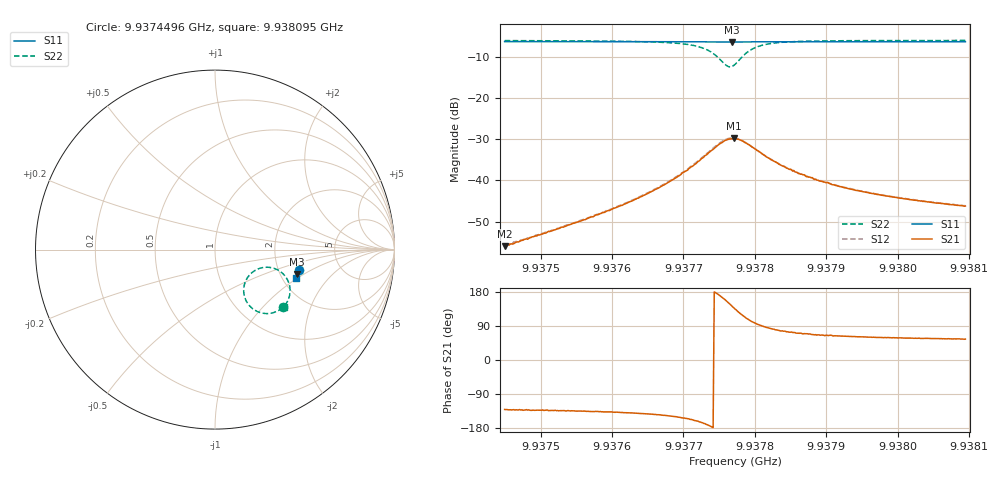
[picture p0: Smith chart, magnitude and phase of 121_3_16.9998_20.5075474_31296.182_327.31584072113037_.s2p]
#  HZ  S  RI  R  50.00
! Rohde & Schwarz Vector Network Analyzer
! Rohde-Schwarz,ZNB20-2Port,1311601062101988,3.16
! Created: UTC 3/20/2024, 10:57:27 PM
! freq[Hz]  re:S11  im:S11  re:S21  im:S21  re:S12  im:S12  re:S22  im:S22
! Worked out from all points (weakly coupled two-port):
!   401 points, 9.9374496 GHz to 9.938095 GHz, reference 50 ohm
!   highest |S21| = -29.81 dB at 9.9377707 GHz (marker M1); lowest = -56.0 dB at 9.9374496 GHz (marker M2)
!   lowest |S11| = -6.4 dB at 9.9377675 GHz (marker M3), VSWR 2.83, Z = 124 - j43.3 ohm
!   |S11| at or under -10 dB: nowhere
!   |S22| runs from -12.4 to -6.0 dB; largest |S21 - S12| = 0.0016
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9.93744962e9  0.4686 -0.1161  -0.00104 -0.00121  -0.00107 -0.00121  0.3779 -0.3218
9.93755773e9  0.4661 -0.1234  -0.0023 -0.00231  -0.0024 -0.00231  0.3615 -0.3344
9.93762065e9  0.4646 -0.1276  -0.00401 -0.00346  -0.00414 -0.00345  0.343 -0.3443
9.93766583e9  0.4632 -0.131  -0.00663 -0.00474  -0.00686 -0.00468  0.318 -0.3532
9.93770455e9  0.4619 -0.1338  -0.0119 -0.00572  -0.0122 -0.00559  0.2723 -0.3553
9.93773037e9  0.4605 -0.1355  -0.0196 -0.00416  -0.0201 -0.00361  0.2128 -0.3315
9.93774166e9  0.4596 -0.1357  -0.0238 -0.000639  -0.0247 8.85e-05  0.1803 -0.297
9.93775296e9  0.4584 -0.1359  -0.0277 0.00624  -0.0284 0.00744  0.1601 -0.235
9.93776103e9  0.4581 -0.1355  -0.028 0.0133  -0.0281 0.0149  0.1698 -0.1776
9.93776748e9  0.458 -0.1352  -0.0258 0.0191  -0.0255 0.0206  0.1981 -0.1354
9.93777071e9  0.4583 -0.1351  -0.0239 0.0218  -0.0232 0.023  0.2183 -0.1193
9.93777232e9  0.4583 -0.135  -0.0225 0.0229  -0.0219 0.0241  0.2292 -0.1128
9.93778039e9  0.4588 -0.1351  -0.0161 0.0263  -0.0151 0.0271  0.2867 -0.0982
9.93779007e9  0.4595 -0.1354  -0.00863 0.0261  -0.00774 0.0266  0.3445 -0.1107
9.93780782e9  0.4601 -0.137  -0.000599 0.0219  0.000112 0.0219  0.3991 -0.1597
9.93782879e9  0.4602 -0.1389  0.00308 0.0165  0.00336 0.0165  0.4167 -0.2066
9.93784493e9  0.4598 -0.1402  0.00379 0.0135  0.00403 0.0137  0.4184 -0.2308
9.93788043e9  0.4592 -0.143  0.00423 0.00996  0.00422 0.00983  0.4135 -0.263
9.93792722e9  0.4581 -0.1462  0.00373 0.0072  0.00395 0.00719  0.4052 -0.2851
9.93798853e9  0.4566 -0.1503  0.0033 0.00547  0.00343 0.00547  0.396 -0.301
9.93803532e9  0.4553 -0.1535  0.00303 0.00466  0.00313 0.00467  0.3907 -0.3092
9.93809502e9  0.4537 -0.1574  0.0028 0.00401  0.00287 0.00403  0.3849 -0.317
